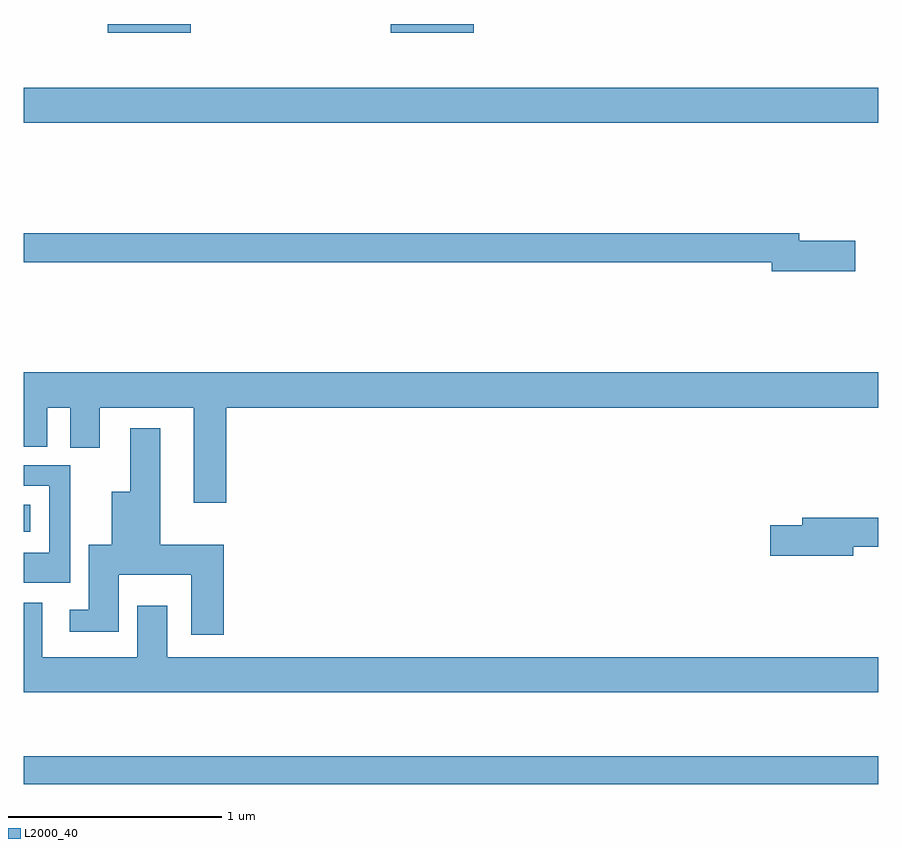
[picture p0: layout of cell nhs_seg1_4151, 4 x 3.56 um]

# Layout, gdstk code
import gdstk
lib = gdstk.Library(unit=1e-6, precision=1e-09)
def R(c, l, rs):  # rectangles x0, y0, x1, y1
    for r in rs: c.add(gdstk.rectangle(r[:2], r[2:], *l))
def P(c, l, *ps):  # polygons
    for p in ps: c.add(gdstk.Polygon(p, *l))
L2000_40 = (2000, 40)

nhs_seg1_4151 = lib.new_cell('nhs_seg1_4151')
R(nhs_seg1_4151, L2000_40, [(337,544.642,341,544.771), (337,545.823,337.03,545.95), (337,547.736,341,547.9), (337.394,548.159,337.783,548.199), (338.718,548.159,339.106,548.199)])
P(nhs_seg1_4151, L2000_40, [(340.891,547.184),(340.63,547.184),(340.63,547.22),(337,547.22),(337,547.084),(340.502,547.084),(340.502,547.042),(340.891,547.042)],
  [(337.949,546.404),(341,546.404),(341,546.568),(337,546.568),(337,546.22),(337.111,546.22),(337.111,546.404),(337.218,546.404),(337.218,546.216),(337.357,546.216),(337.357,546.404),(337.796,546.404),(337.796,545.958),(337.949,545.958)],
  [(337.937,545.761),(337.639,545.761),(337.639,546.307),(337.499,546.307),(337.499,546.01),(337.412,546.01),(337.412,545.761),(337.304,545.761),(337.304,545.458),(337.215,545.458),(337.215,545.354),(337.444,545.354),(337.444,545.621),(337.784,545.621),(337.784,545.34),(337.937,545.34)],
  [(337.217,546.135),(337,546.135),(337,546.039),(337.119,546.039),(337.119,545.725),(337,545.725),(337,545.585),(337.217,545.585)],
  [(340.882,545.752),(341,545.752),(341,545.888),(340.643,545.888),(340.643,545.852),(340.494,545.852),(340.494,545.71),(340.882,545.71)],
  [(341,545.236),(337.672,545.236),(337.672,545.476),(337.532,545.476),(337.532,545.236),(337.087,545.236),(337.087,545.491),(337,545.491),(337,545.072),(341,545.072)])

lib.write_gds('nhs_seg1_4151.gds')
